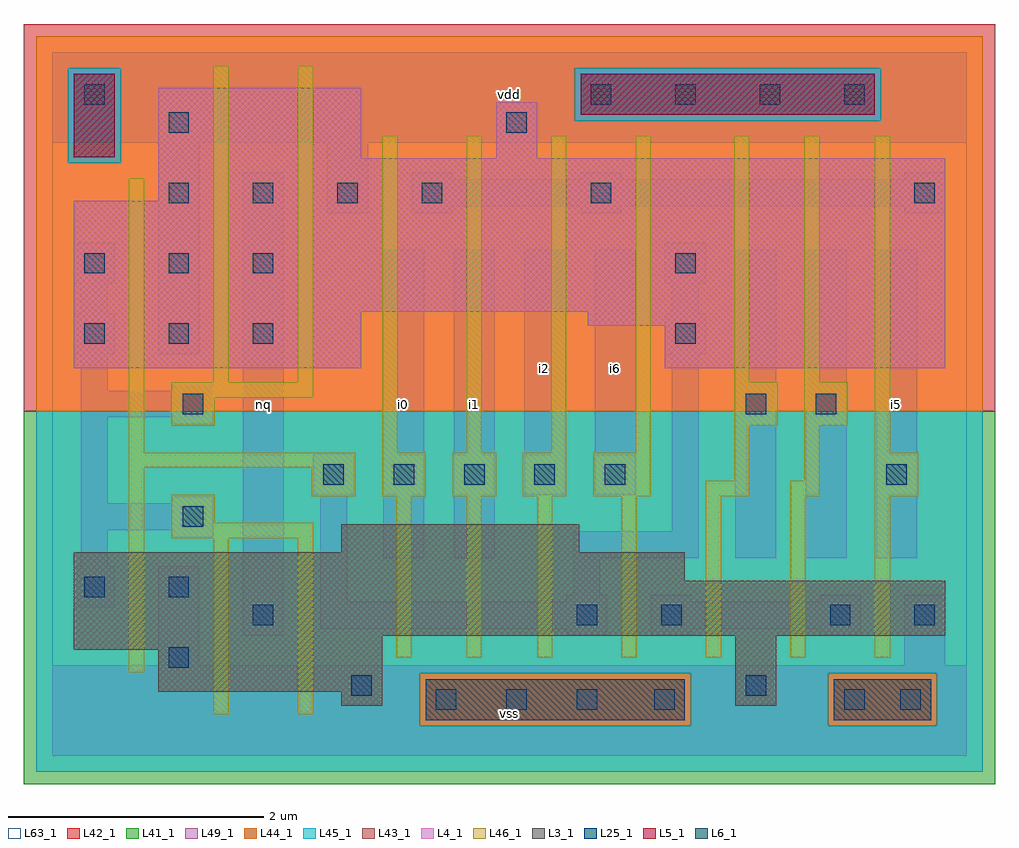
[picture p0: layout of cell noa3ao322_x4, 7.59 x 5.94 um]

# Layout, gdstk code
import gdstk
lib = gdstk.Library(unit=1e-6, precision=1e-09)
def R(c, l, rs):  # rectangles x0, y0, x1, y1
    for r in rs: c.add(gdstk.rectangle(r[:2], r[2:], *l))
def A(c, l, x, y, w, h, nx, ny, dx, dy):  # array of equal rectangles
    R(c, l, [(x+i*dx, y+j*dy, x+i*dx+w, y+j*dy+h) for i in range(nx) for j in range(ny)])
L3_1 = (3, 1)
L4_1 = (4, 1)
L5_1 = (5, 1)
L6_1 = (6, 1)
L25_1 = (25, 1)
L41_1 = (41, 1)
L42_1 = (42, 1)
L43_1 = (43, 1)
L44_1 = (44, 1)
L45_1 = (45, 1)
L46_1 = (46, 1)
L49_1 = (49, 1)
L63_1 = (63, 1)

noa3ao322_x4 = lib.new_cell('noa3ao322_x4')
R(noa3ao322_x4, L3_1, [(2.26,0.39,2.58,0.5), (5.34,0.39,5.66,0.94), (0.83,0.5,2.58,0.83), (0.17,0.83,2.58,0.94), (0.17,0.94,6.98,1.37), (0.17,1.37,4.945,1.59), (2.26,1.59,4.12,1.81)])
R(noa3ao322_x4, L4_1, [(0.17,3.03,2.415,3.47), (4.79,3.03,6.98,3.36), (4.185,3.36,6.98,3.47), (0.17,3.47,6.98,4.34), (0.83,4.34,6.98,4.67), (0.83,4.67,2.415,5.22), (3.47,4.67,3.79,5.11)])
R(noa3ao322_x4, L5_1, [(0.17,4.68,0.49,5.33), (4.13,5.01,6.43,5.33)])
R(noa3ao322_x4, L6_1, [(2.92,0.28,4.945,0.6), (6.11,0.28,6.87,0.6)])
A(noa3ao322_x4, L25_1, 3, 0.36, 0.16, 0.16, 3, 1, 0.55, 0)
A(noa3ao322_x4, L25_1, 2.12, 2.12, 0.16, 0.16, 5, 1, 0.55, 0)
A(noa3ao322_x4, L25_1, 0.25, 3.22, 0.16, 0.16, 3, 2, 0.66, 0.55)
A(noa3ao322_x4, L25_1, 0.91, 4.32, 0.16, 0.16, 4, 1, 0.66, 0)
A(noa3ao322_x4, L25_1, 4.21, 5.09, 0.16, 0.16, 4, 1, 0.66, 0)
R(noa3ao322_x4, L25_1, [(4.705,0.36,4.865,0.52), (6.19,0.36,6.35,0.52), (6.63,0.36,6.79,0.52), (2.34,0.47,2.5,0.63), (5.42,0.47,5.58,0.63), (0.91,0.69,1.07,0.85), (1.57,1.02,1.73,1.18), (4.1,1.02,4.26,1.18), (4.76,1.02,4.92,1.18), (6.08,1.02,6.24,1.18), (6.74,1.02,6.9,1.18), (0.25,1.24,0.41,1.4), (0.91,1.24,1.07,1.4), (1.02,1.79,1.18,1.95), (6.52,2.12,6.68,2.28), (1.02,2.67,1.18,2.83), (5.42,2.67,5.58,2.83), (5.97,2.67,6.13,2.83), (4.87,3.22,5.03,3.38), (4.87,3.77,5.03,3.93), (4.21,4.32,4.37,4.48), (6.74,4.32,6.9,4.48), (0.91,4.87,1.07,5.03), (3.55,4.87,3.71,5.03), (0.25,5.09,0.41,5.25)])
R(noa3ao322_x4, L41_1, [(-0.22,-0.22,7.37,2.695)])
R(noa3ao322_x4, L42_1, [(-0.22,2.695,7.37,5.72)])
R(noa3ao322_x4, L43_1, [(2.92,0.28,4.945,0.6), (6.11,0.28,6.87,0.6), (2.26,0.39,2.58,0.5), (5.34,0.39,5.66,0.94), (0.83,0.5,2.58,0.83), (0.17,0.83,2.58,0.94), (0.17,0.94,6.98,1.37), (0.17,1.37,4.945,1.59), (2.26,1.59,4.12,1.81), (0.17,3.03,2.415,3.47), (4.79,3.03,6.98,3.36), (4.185,3.36,6.98,3.47), (0.17,3.47,6.98,4.34), (0.83,4.34,6.98,4.67), (0.83,4.67,2.415,5.22), (3.47,4.67,3.79,5.11), (0.17,4.68,0.49,5.33), (4.13,5.01,6.43,5.33)])
R(noa3ao322_x4, L44_1, [(2.875,0.235,4.99,0.645), (6.065,0.235,6.915,0.645), (-0.125,2.695,7.275,4.635), (-0.125,4.635,0.125,5.375), (0.535,4.635,7.275,4.965), (0.535,4.965,4.085,5.375), (6.475,4.965,7.275,5.375), (-0.125,5.375,7.275,5.625)])
R(noa3ao322_x4, L45_1, [(-0.125,-0.125,7.275,0.235), (-0.125,0.235,2.875,0.645), (4.99,0.235,6.065,0.645), (6.915,0.235,7.275,0.645), (-0.125,0.645,7.275,2.695), (0.125,4.635,0.535,5.375), (4.085,4.965,6.475,5.375)])
A(noa3ao322_x4, L46_1, 2.69, 0.765, 0.12, 1.265, 3, 1, 0.55, 0)
A(noa3ao322_x4, L46_1, 4.45, 0.765, 0.12, 1.265, 4, 1, 0.66, 0)
A(noa3ao322_x4, L46_1, 2.58, 2.03, 0.34, 0.34, 3, 1, 0.55, 0)
A(noa3ao322_x4, L46_1, 2.58, 2.37, 0.12, 2.475, 4, 1, 0.66, 0)
R(noa3ao322_x4, L46_1, [(1.26,0.325,1.38,1.7), (1.92,0.325,2.04,1.7), (0.6,0.655,0.72,2.25), (0.93,1.7,2.04,1.82), (0.93,1.82,1.27,2.04), (2.03,2.03,2.37,2.25), (4.23,2.03,4.68,2.37), (5.11,2.03,5.45,2.15), (5.77,2.03,6,2.15), (6.43,2.03,6.77,2.37), (5.33,2.15,5.45,2.58), (5.88,2.15,6,2.58), (0.6,2.25,2.37,2.37), (0.6,2.37,0.72,4.515), (6.43,2.37,6.55,4.845), (0.93,2.58,1.27,2.8), (5.33,2.58,5.67,2.92), (5.88,2.58,6.22,2.92), (0.93,2.8,2.04,2.92), (1.26,2.92,1.38,5.395), (1.92,2.92,2.04,5.395), (5.33,2.92,5.45,4.845), (5.88,2.92,6,4.845)])
A(noa3ao322_x4, L49_1, 5.34, 1.545, 0.32, 2.41, 3, 1, 0.55, 0)
R(noa3ao322_x4, L49_1, [(0,0,7.15,0.71), (0.83,0.71,1.15,1.48), (6.66,0.71,6.98,1.26), (1.49,0.94,1.81,4.56), (4.02,0.94,4.34,0.995), (4.68,0.94,5,0.995), (6,0.94,6.32,0.995), (2.095,0.995,4.34,1.205), (4.68,0.995,6.32,1.205), (0.17,1.16,0.49,1.48), (2.095,1.205,2.305,2.04), (4.02,1.205,4.34,1.26), (4.68,1.205,5,1.26), (6,1.205,6.32,1.26), (4.075,1.26,4.285,1.545), (0.225,1.48,0.435,1.765), (2.59,1.545,2.91,3.955), (3.14,1.545,3.46,3.955), (4.075,1.545,5.055,1.755), (0.94,1.71,1.26,1.765), (4.845,1.755,5.055,3.14), (0.225,1.765,1.26,1.975), (0.225,1.975,0.435,2.645), (0.94,1.975,1.26,2.03), (2.04,2.04,2.36,2.36), (3.69,2.04,4.01,3.955), (4.24,2.04,4.56,3.955), (0.94,2.59,1.26,2.645), (0.225,2.645,1.26,2.855), (0.225,2.855,0.435,3.14), (0.94,2.855,1.26,2.91), (0.17,3.14,0.49,3.46), (0.83,3.14,1.15,4.79), (4.79,3.14,5.11,3.46), (0.225,3.46,0.435,3.69), (4.845,3.46,5.055,3.69), (0.17,3.69,0.49,4.01), (4.79,3.69,5.11,4.01), (2.15,4.24,2.47,4.79), (2.81,4.24,3.13,4.295), (4.13,4.24,4.45,4.295), (6.66,4.24,6.98,4.295), (2.81,4.295,6.98,4.505), (2.81,4.505,3.13,4.56), (4.13,4.505,4.45,4.56), (6.66,4.505,6.98,4.56), (0,4.79,7.15,5.5)])
R(noa3ao322_x4, L63_1, [(0,0,7.15,5.5)])
noa3ao322_x4.add(gdstk.Label('nq', (1.65,2.75), layer=49, texttype=1))
noa3ao322_x4.add(gdstk.Label('nq', (1.65,2.75), layer=49, texttype=1))
noa3ao322_x4.add(gdstk.Label('vss', (3.575,0.33), layer=49, texttype=1))
noa3ao322_x4.add(gdstk.Label('vss', (3.575,0.33), layer=49, texttype=1))
noa3ao322_x4.add(gdstk.Label('i0', (2.75,2.75), layer=49, texttype=1))
noa3ao322_x4.add(gdstk.Label('i0', (2.75,2.75), layer=49, texttype=1))
noa3ao322_x4.add(gdstk.Label('i1', (3.3,2.75), layer=49, texttype=1))
noa3ao322_x4.add(gdstk.Label('i2', (3.85,3.025), layer=49, texttype=1))
noa3ao322_x4.add(gdstk.Label('i2', (3.85,3.025), layer=49, texttype=1))
noa3ao322_x4.add(gdstk.Label('i1', (3.3,2.75), layer=49, texttype=1))
noa3ao322_x4.add(gdstk.Label('vdd', (3.575,5.17), layer=49, texttype=1))
noa3ao322_x4.add(gdstk.Label('vdd', (3.575,5.17), layer=49, texttype=1))
noa3ao322_x4.add(gdstk.Label('i6', (4.4,3.025), layer=49, texttype=1))
noa3ao322_x4.add(gdstk.Label('i6', (4.4,3.025), layer=49, texttype=1))
noa3ao322_x4.add(gdstk.Label('i5', (6.6,2.75), layer=49, texttype=1))
noa3ao322_x4.add(gdstk.Label('i5', (6.6,2.75), layer=49, texttype=1))

lib.write_gds('noa3ao322_x4.gds')
